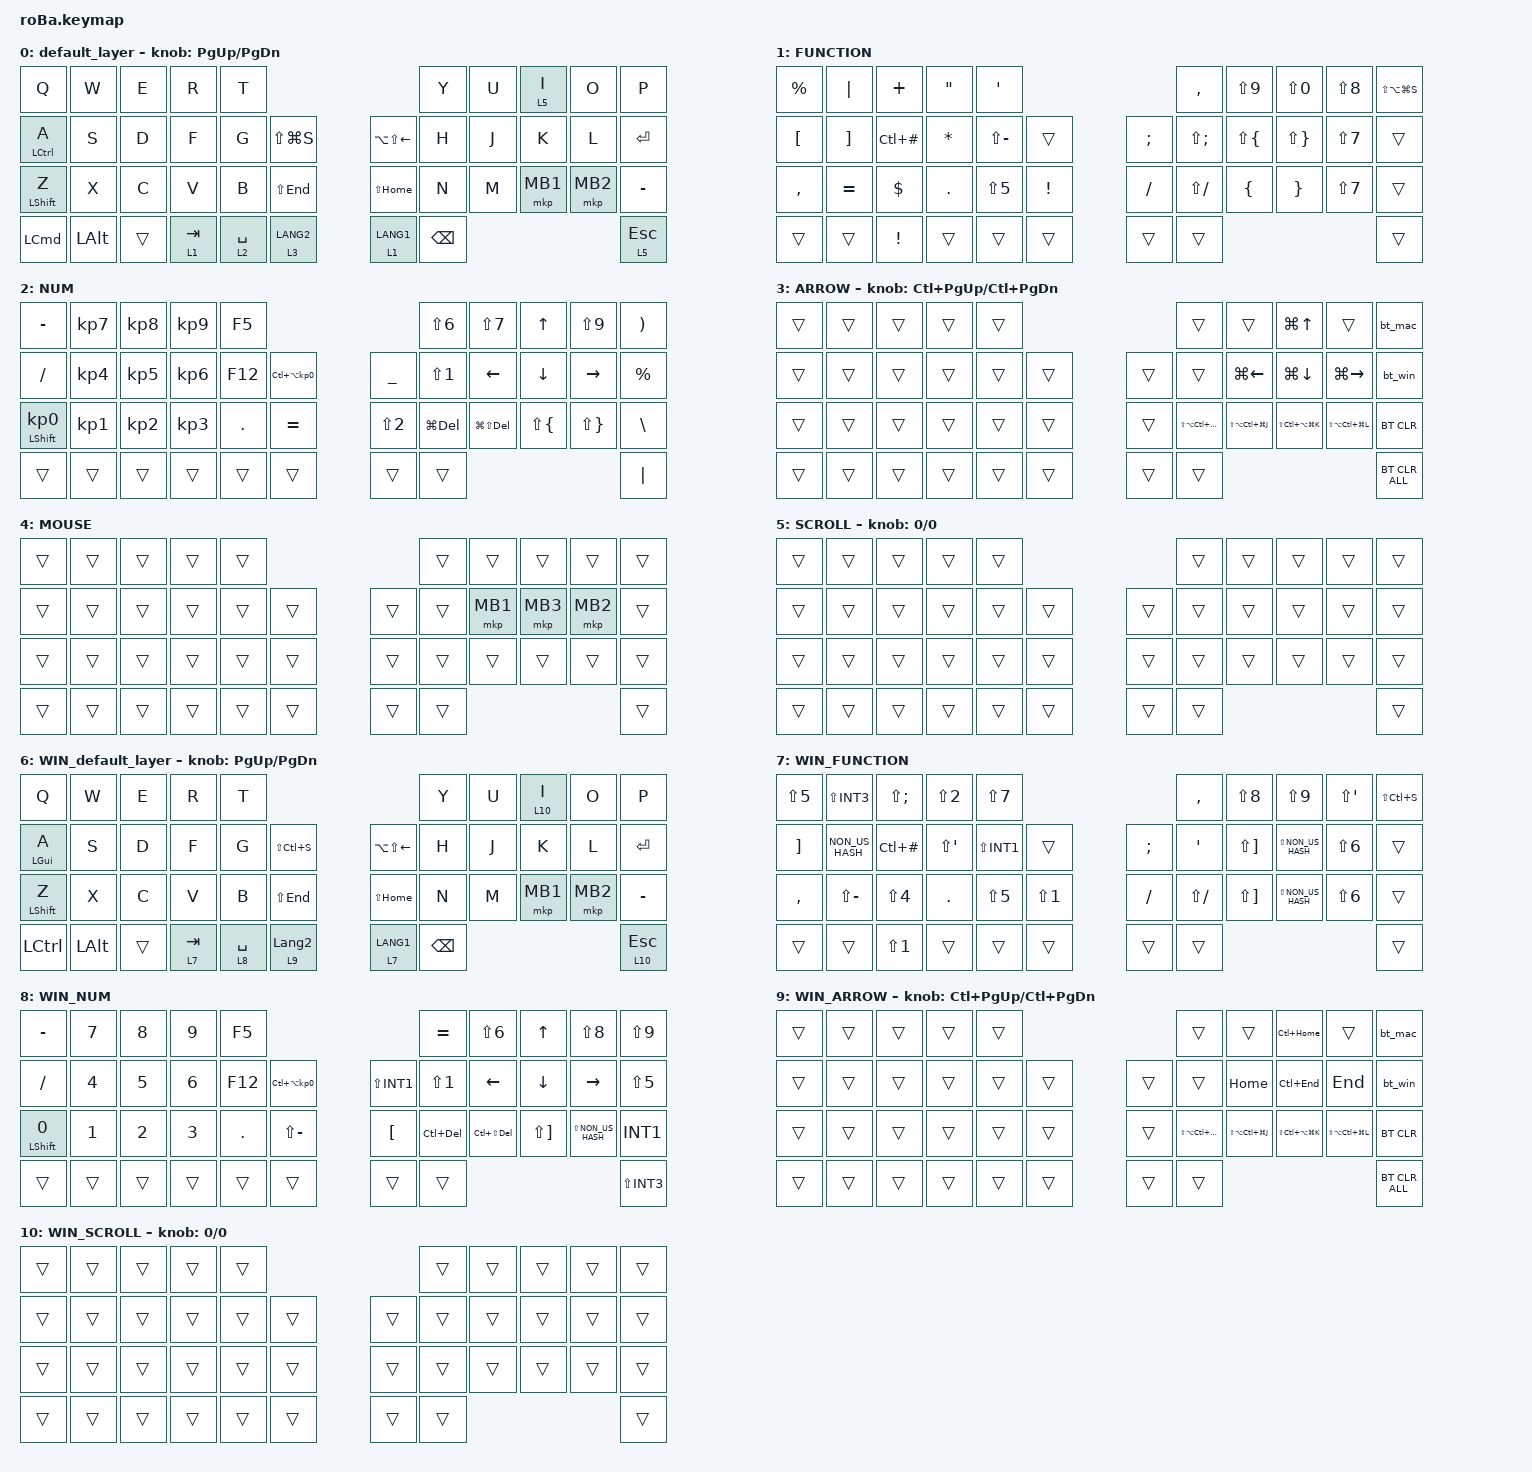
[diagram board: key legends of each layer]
#include <behaviors.dtsi>
#include <dt-bindings/zmk/bt.h>
#include <dt-bindings/zmk/keys.h>
#include <dt-bindings/zmk/pointing.h>

&mt {
    flavor = "balanced";
    quick-tap-ms = <0>;
};

&trackball {
    automouse-layer = <4>;
    scroll-layers = <5 10>;

    // arrows {
    //     layers = <3>;
    //     bindings =
    //         <&kp RIGHT_ARROW>,
    //         <&kp LEFT_ARROW>,
    //         <&kp UP_ARROW>,
    //         <&kp DOWN_ARROW>;
    //     tick = <10>;
    //     wait-ms = <5>;
    //     tap-ms = <5>;
    // };
};

/ {
    combos {
        compatible = "zmk,combos";

        tab {
            bindings = <&kp TAB>;
            key-positions = <11 12>;
        };

        shift_tab {
            bindings = <&kp LS(TAB)>;
            key-positions = <12 13>;
        };

        muhennkann {
            bindings = <&to_layer_0 INT_MUHENKAN>;
            key-positions = <11 10>;
            layers = <0 1 2 3>;
        };

        muhennkann_win {
            bindings = <&to_layer_6 INT_MUHENKAN>;
            key-positions = <11 10>;
            layers = <6 7 8 9>;
        };

        double_quotation {
            bindings = <&kp DOUBLE_QUOTES>;
            key-positions = <20 21>;
            layers = <0 1 2 3>;
        };

        double_quotation_win {
            bindings = <&kp LS(N2)>;
            key-positions = <20 21>;
            layers = <6 7 8 9>;
        };
    };

    macros {
        to_layer_0: to_layer_0 {
            compatible = "zmk,behavior-macro-one-param";
            #binding-cells = <1>;
            bindings = <&to 0 &macro_param_1to1 &kp MACRO_PLACEHOLDER>;
            label = "TO_LAYER_0";
        };

        to_layer_6: to_layer_6 {
            compatible = "zmk,behavior-macro-one-param";
            #binding-cells = <1>;
            bindings = <&to 6 &macro_param_1to1 &kp MACRO_PLACEHOLDER>;
            label = "TO_LAYER_6";
        };

        bt_mac: bt_mac {
            compatible = "zmk,behavior-macro";
            #binding-cells = <0>;
            bindings = <&bt BT_SEL 0 &to 0>;
            label = "BT_MAC";
        };

        bt_win: bt_win {
            compatible = "zmk,behavior-macro";
            #binding-cells = <0>;
            bindings = <&bt BT_SEL 1 &to 6>;
            label = "BT_WIN";
        };
    };

    behaviors {
        lt_to_layer_0: lt_to_layer_0 {
            compatible = "zmk,behavior-hold-tap";
            label = "LAYER_TAP_TO_0";
            bindings = <&mo>, <&to_layer_0>;

            #binding-cells = <2>;
            tapping-term-ms = <200>;
        };

        lt_to_layer_6: lt_to_layer_6 {
            compatible = "zmk,behavior-hold-tap";
            label = "LAYER_TAP_TO_6";
            bindings = <&mo>, <&to_layer_6>;

            #binding-cells = <2>;
            tapping-term-ms = <200>;
        };
    };

    keymap {
        compatible = "zmk,keymap";

        // ============================================================
        // Mac Layers (0-3) - unchanged
        // ============================================================

        default_layer {
            bindings = <
&kp Q             &kp W         &kp E   &kp R                 &kp T                                                                       &kp Y     &kp U  &lt 5 I   &kp O     &kp P
&mt LCTRL A       &kp S         &kp D   &kp F                 &kp G                   &kp LS(LG(S))               &kp LA(LS(LEFT))        &kp H     &kp J  &kp K     &kp L     &kp ENTER
&mt LEFT_SHIFT Z  &kp X         &kp C   &kp V                 &kp B                   &kp LS(END)                 &kp LS(HOME)            &kp N     &kp M  &mkp MB1  &mkp MB2  &kp MINUS
&kp LCMD          &kp LEFT_ALT  &trans  &lt_to_layer_0 1 TAB  &lt_to_layer_0 2 SPACE  &lt_to_layer_0 3 LANG2      &lt_to_layer_0 1 LANG1  &kp BSPC                             &lt_to_layer_0 5 ESCAPE
            >;

            sensor-bindings = <&inc_dec_kp PG_UP PAGE_DOWN>;
        };

        FUNCTION {
            bindings = <
&kp PERCENT  &kp PIPE   &kp PLUS       &kp DQT       &kp SQT                                            &kp COMMA          &kp LS(N9)          &kp LS(N0)           &kp LS(N8)  &kp LS(LA(LG(S)))
&kp LBKT     &kp RBKT   &kp LC(POUND)  &kp ASTERISK  &kp LS(MINUS)  &trans               &kp SEMICOLON  &kp LS(SEMICOLON)  &kp LS(LEFT_BRACE)  &kp LS(RIGHT_BRACE)  &kp LS(N7)  &trans
&kp COMMA    &kp EQUAL  &kp DLLR       &kp PERIOD    &kp LS(N5)     &kp EXCLAMATION      &kp SLASH      &kp LS(SLASH)      &kp LEFT_BRACE      &kp RIGHT_BRACE      &kp LS(N7)  &trans
&trans       &trans     &kp EXCL       &trans        &trans         &trans               &trans         &trans                                                                  &trans
            >;
        };

        NUM {
            bindings = <
&kp MINUS                   &kp KP_NUMBER_7  &kp KP_NUMBER_8  &kp KP_NUMBER_9  &kp F5                                                     &kp LS(NUMBER_6)  &kp LS(N7)          &kp UP_ARROW        &kp LS(N9)           &kp RIGHT_PARENTHESIS
&kp SLASH                   &kp KP_NUMBER_4  &kp KP_NUMBER_5  &kp KP_NUMBER_6  &kp F12     &kp LC(LA(KP_NUMBER_0))      &kp UNDERSCORE    &kp LS(NUMBER_1)  &kp LEFT_ARROW      &kp DOWN_ARROW      &kp RIGHT            &kp PERCENT
&mt LEFT_SHIFT KP_NUMBER_0  &kp KP_NUMBER_1  &kp KP_NUMBER_2  &kp KP_NUMBER_3  &kp PERIOD  &kp EQUAL                    &kp LS(NUMBER_2)  &kp LG(DELETE)    &kp LG(LS(DELETE))  &kp LS(LEFT_BRACE)  &kp LS(RIGHT_BRACE)  &kp BACKSLASH
&trans                      &trans           &trans           &trans           &trans      &trans                       &trans            &trans                                                                         &kp PIPE
            >;
        };

        ARROW {
            bindings = <
&trans  &trans  &trans  &trans  &trans                      &trans                 &trans                 &kp LG(UP)             &trans                 &bt_mac
&trans  &trans  &trans  &trans  &trans  &trans      &trans  &trans                 &kp LG(LEFT)           &kp LG(DOWN)           &kp LG(RIGHT)          &bt_win
&trans  &trans  &trans  &trans  &trans  &trans      &trans  &kp LS(LA(LC(LG(O))))  &kp LS(LA(LC(LG(J))))  &kp LS(LC(LA(LG(K))))  &kp LS(LA(LC(LG(L))))  &bt BT_CLR
&trans  &trans  &trans  &trans  &trans  &trans      &trans  &trans                                                                                      &bt BT_CLR_ALL
            >;

            sensor-bindings = <&inc_dec_kp LC(PAGE_UP) LC(PAGE_DOWN)>;
        };

        // ============================================================
        // Shared Layers (4-5)
        // ============================================================

        MOUSE {
            bindings = <
&trans  &trans  &trans  &trans  &trans                      &trans  &trans    &trans    &trans    &trans
&trans  &trans  &trans  &trans  &trans  &trans      &trans  &trans  &mkp MB1  &mkp MB3  &mkp MB2  &trans
&trans  &trans  &trans  &trans  &trans  &trans      &trans  &trans  &trans    &trans    &trans    &trans
&trans  &trans  &trans  &trans  &trans  &trans      &trans  &trans                                &trans
            >;
        };

        SCROLL {
            bindings = <
&trans  &trans  &trans  &trans  &trans                      &trans  &trans  &trans  &trans  &trans
&trans  &trans  &trans  &trans  &trans  &trans      &trans  &trans  &trans  &trans  &trans  &trans
&trans  &trans  &trans  &trans  &trans  &trans      &trans  &trans  &trans  &trans  &trans  &trans
&trans  &trans  &trans  &trans  &trans  &trans      &trans  &trans                          &trans
            >;

            sensor-bindings = <&inc_dec_kp 0 0>;
        };

        // ============================================================
        // Windows Layers (6-9) - JIS 106/109 symbol mapping
        // ============================================================
        // Mac→WinJIS symbol conversion applied:
        // ( = LS(N8)  ) = LS(N9)  * = LS(SQT)  " = LS(N2)  ' = LS(N7)
        // + = LS(SEMI)  : = SQT  = = LS(MINUS)  [ = RBKT  ] = NON_US_HASH
        // { = LS(RBKT)  } = LS(NON_US_HASH)  & = LS(N6)  ^ = EQUAL
        // @ = LBKT  _ = LS(INT1)  \ = INT1  | = LS(INT3)

        WIN_default_layer {
            bindings = <
&kp Q             &kp W         &kp E   &kp R                 &kp T                                                                            &kp Y     &kp U  &lt 10 I  &kp O     &kp P
&mt LGUI A        &kp S         &kp D   &kp F                 &kp G                   &kp LS(LC(S))                    &kp LA(LS(LEFT))        &kp H     &kp J  &kp K     &kp L     &kp ENTER
&mt LEFT_SHIFT Z  &kp X         &kp C   &kp V                 &kp B                   &kp LS(END)                      &kp LS(HOME)            &kp N     &kp M  &mkp MB1  &mkp MB2  &kp MINUS
&kp LCTRL         &kp LEFT_ALT  &trans  &lt_to_layer_6 7 TAB  &lt_to_layer_6 8 SPACE  &lt_to_layer_6 9 LANGUAGE_2      &lt_to_layer_6 7 LANG1  &kp BSPC                             &lt_to_layer_6 10 ESCAPE
            >;

            sensor-bindings = <&inc_dec_kp PG_UP PAGE_DOWN>;
        };

        WIN_FUNCTION {
            bindings = <
&kp LS(N5)  &kp LS(INT3)     &kp LS(SEMI)   &kp LS(N2)   &kp LS(N7)                               &kp COMMA      &kp LS(N8)    &kp LS(N9)           &kp LS(SQT)  &kp LS(LC(S))
&kp RBKT    &kp NON_US_HASH  &kp LC(POUND)  &kp LS(SQT)  &kp LS(INT1)  &trans          &kp SEMI   &kp SQT        &kp LS(RBKT)  &kp LS(NON_US_HASH)  &kp LS(N6)   &trans
&kp COMMA   &kp LS(MINUS)    &kp LS(N4)     &kp DOT      &kp LS(N5)    &kp LS(N1)      &kp SLASH  &kp LS(SLASH)  &kp LS(RBKT)  &kp LS(NON_US_HASH)  &kp LS(N6)   &trans
&trans      &trans           &kp LS(N1)     &trans       &trans        &trans          &trans     &trans                                                         &trans
            >;
        };

        WIN_NUM {
            bindings = <
&kp MINUS              &kp N7  &kp N8  &kp N9  &kp F5                                        &kp EQUAL       &kp LS(N6)          &kp UP_ARROW    &kp LS(N8)           &kp LS(N9)
&kp SLASH              &kp N4  &kp N5  &kp N6  &kp F12     &kp LC(LA(KP_NUMBER_0))      &kp LS(INT1)  &kp LS(N1)      &kp LEFT_ARROW      &kp DOWN_ARROW  &kp RIGHT            &kp LS(N5)
&mt LEFT_SHIFT N0      &kp N1  &kp N2  &kp N3  &kp PERIOD  &kp LS(MINUS)                &kp LBKT      &kp LC(DELETE)  &kp LC(LS(DELETE))  &kp LS(RBKT)    &kp LS(NON_US_HASH)  &kp INT1
&trans                      &trans           &trans           &trans           &trans      &trans                       &trans        &trans                                                                   &kp LS(INT3)
            >;
        };

        WIN_ARROW {
            bindings = <
&trans  &trans  &trans  &trans  &trans                      &trans                 &trans                 &kp LC(HOME)           &trans                 &bt_mac
&trans  &trans  &trans  &trans  &trans  &trans      &trans  &trans                 &kp HOME               &kp LC(END)            &kp END                &bt_win
&trans  &trans  &trans  &trans  &trans  &trans      &trans  &kp LS(LA(LC(LG(O))))  &kp LS(LA(LC(LG(J))))  &kp LS(LC(LA(LG(K))))  &kp LS(LA(LC(LG(L))))  &bt BT_CLR
&trans  &trans  &trans  &trans  &trans  &trans      &trans  &trans                                                                                      &bt BT_CLR_ALL
            >;

            sensor-bindings = <&inc_dec_kp LC(PAGE_UP) LC(PAGE_DOWN)>;
        };

        // Layer 10: Windows SCROLL (above Win base layer 6)
        WIN_SCROLL {
            bindings = <
&trans  &trans  &trans  &trans  &trans                      &trans  &trans  &trans  &trans  &trans
&trans  &trans  &trans  &trans  &trans  &trans      &trans  &trans  &trans  &trans  &trans  &trans
&trans  &trans  &trans  &trans  &trans  &trans      &trans  &trans  &trans  &trans  &trans  &trans
&trans  &trans  &trans  &trans  &trans  &trans      &trans  &trans                          &trans
            >;

            sensor-bindings = <&inc_dec_kp 0 0>;
        };
    };
};
